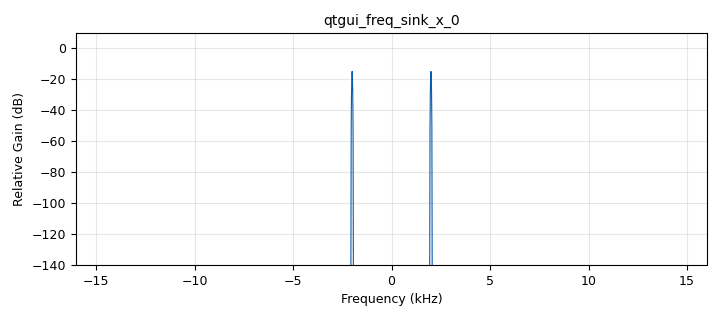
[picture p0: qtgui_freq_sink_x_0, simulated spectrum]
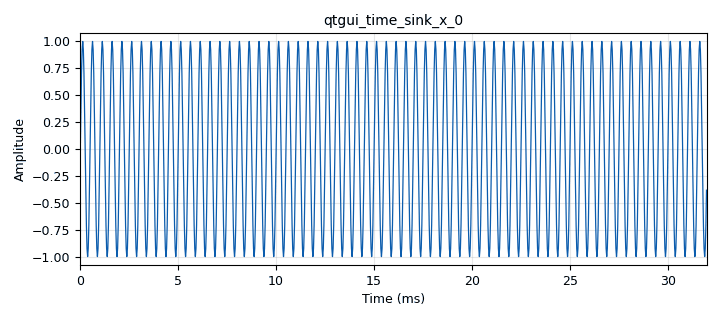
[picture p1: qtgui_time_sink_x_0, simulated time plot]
options:
  parameters:
    author: Francisco Nicolás Pérez Fernández
    generate_options: qt_gui
    id: sampleRateDemo
    output_language: python
    title: Sample Rate Demo
  states: {}

blocks:
- name: freq
  id: variable_qtgui_range
  parameters:
    label: Frequency
    orient: Qt.Horizontal
    start: 1e3
    step: 1e3
    stop: 40e3
    value: 2e3
  states: {}
- name: samp_rate
  id: variable
  parameters:
    value: '32000'
  states: {}
- name: analog_sig_source_x_0
  id: analog_sig_source_x
  parameters:
    amp: '1'
    freq: freq
    offset: '0'
    phase: '0'
    samp_rate: samp_rate
    type: float
    waveform: analog.GR_SIN_WAVE
  states: {}
- name: blocks_throttle_0
  id: blocks_throttle
  parameters:
    samples_per_second: samp_rate
    type: float
  states: {}
- name: qtgui_freq_sink_x_0
  id: qtgui_freq_sink_x
  parameters:
    bw: samp_rate
    fc: '0'
    fftsize: '2048'
    grid: 'True'
    type: float
    update_time: '0.0001'
    wintype: firdes.WIN_BLACKMAN_hARRIS
  states: {}
- name: qtgui_time_sink_x_0
  id: qtgui_time_sink_x
  parameters:
    grid: 'True'
    size: '1024'
    srate: samp_rate
    type: float
    update_time: '0.0001'
  states: {}

connections:
- [analog_sig_source_x_0, '0', blocks_throttle_0, '0']
- [blocks_throttle_0, '0', qtgui_freq_sink_x_0, '0']
- [blocks_throttle_0, '0', qtgui_time_sink_x_0, '0']

metadata:
  file_format: 1
